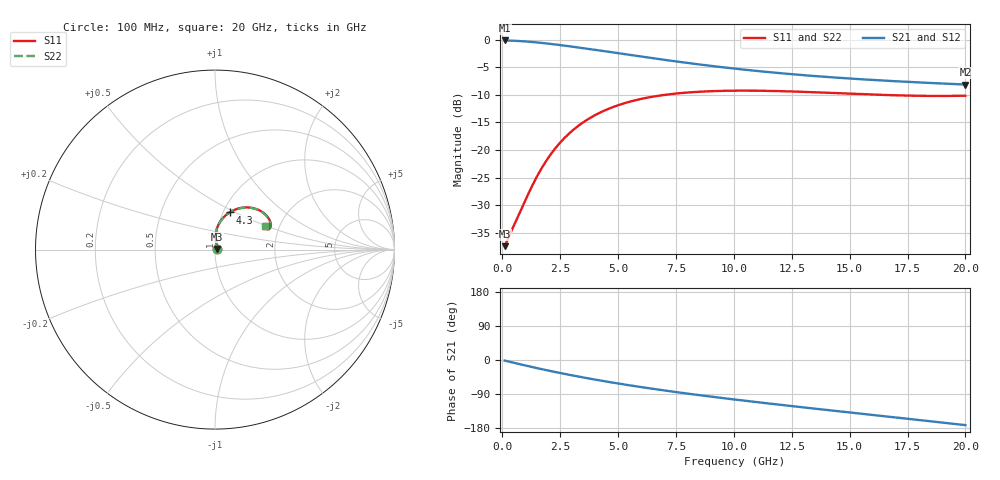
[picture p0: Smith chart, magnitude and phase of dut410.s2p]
! Touchstone file exported from HFSS 2024.1.0
!  File:  C:/UserFiles/LocalFiles/RDL_TSV_Batchsim/temp_RDL_TSV_410_1779714104.aedt
!  Generated:  09:24:16 PM May 25, 2026
!  Design:  RDL_TSV
!  Project:  temp_RDL_TSV_410_1779714104
!  Setup:  Setup1
!  Solution:  Sweep
! Variables:
!  dtsv = 6.87um
!  hbump = 3um
!  htsv = 73.57um
!  ldown = 382.91um
!  lrdl = 311.46um
!  p = 40
!  p1 = 55.82um
!  rhole = 10um
!  subl = 2394.57um
!  t = 450um
!  tdown = 2.66um
!  trdl = 4.13um
!  viad = 10um
!  wdown = 25.97um
!  wrdl = 18.98um
!  xbump = 18um
# GHz S MA R 50.000000
! Terminal data exported
! Port[1] = TM1_1_T1
! Port[2] = TM1_4_T1
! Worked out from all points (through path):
!   200 points, 100 MHz to 20 GHz, reference 50 ohm
!   highest |S21| = -0.12 dB at 100 MHz (marker M1); lowest = -8.1 dB at 20 GHz (marker M2)
!   group delay of S21, straight-line fit = 22.4 ps
!   lowest |S11| = -37.5 dB at 100 MHz (marker M3), VSWR 1.03, Z = 51.3 + j0.369 ohm
!   |S11| at or under -10 dB: start of sweep to 7.003 GHz; 16.43 GHz to end of sweep
!   |S22| runs from -37.5 to -9.3 dB; largest |S21 - S12| = 1.4e-14
!   S11 on the Smith chart (normalised r, x): 100 MHz: 1.03, +0.01; 4.3 GHz: 1.07, +0.47; 20 GHz: 1.70, +0.49
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0.1  0.0134 15.5  0.9868 -1.5  0.9868 -1.5  0.0134 15.5
! Gamma 0 0 0 0
! Port Impedance 50 0 50 0
0.6  0.02287 57.9  0.9784 -8.9  0.9784 -8.9  0.02287 57.9
1.2  0.04325 81.1  0.9594 -17.4  0.9594 -17.4  0.04322 81.0
1.5  0.05765 85.5  0.9468 -21.5  0.9468 -21.5  0.05758 85.4
1.8  0.07408 87.1  0.9327 -25.5  0.9327 -25.5  0.07398 87.0
2.2  0.09805 86.5  0.9123 -30.6  0.9123 -30.6  0.09789 86.4
2.6  0.1232 84.2  0.8905 -35.6  0.8905 -35.6  0.1229 84.1
3  0.1483 80.9  0.8681 -40.4  0.8681 -40.4  0.148 80.9
3.5  0.1787 76.3  0.8397 -46.1  0.8397 -46.1  0.1783 76.3
4.3  0.2225 68.7  0.7946 -54.8  0.7946 -54.8  0.222 68.6
4.8  0.2462 64.0  0.7671 -60.0  0.7671 -60.0  0.2457 63.9
5.4  0.2707 58.7  0.7352 -65.9  0.7352 -65.9  0.27 58.7
6.8  0.3119 48.0  0.6672 -78.7  0.6672 -78.7  0.3111 47.9
7.6  0.3269 42.9  0.6327 -85.5  0.6327 -85.5  0.326 42.8
8.4  0.3369 38.4  0.6016 -91.9  0.6016 -91.9  0.3359 38.3
10.1  0.3456 30.8  0.5459 -104.8  0.5459 -104.8  0.3445 30.7
11.7  0.3433 25.7  0.5048 -116.1  0.5048 -116.1  0.3421 25.7
13.4  0.3348 22.4  0.4706 -127.7  0.4706 -127.7  0.3335 22.4
15  0.3246 20.9  0.4454 -138.4  0.4454 -138.4  0.3233 20.9
16.7  0.3149 21.1  0.424 -149.7  0.424 -149.7  0.3136 21.1
18.4  0.3097 22.6  0.4066 -161.1  0.4066 -161.1  0.3085 22.7
20  0.3111 24.8  0.3928 -171.9  0.3928 -171.9  0.3099 24.9
